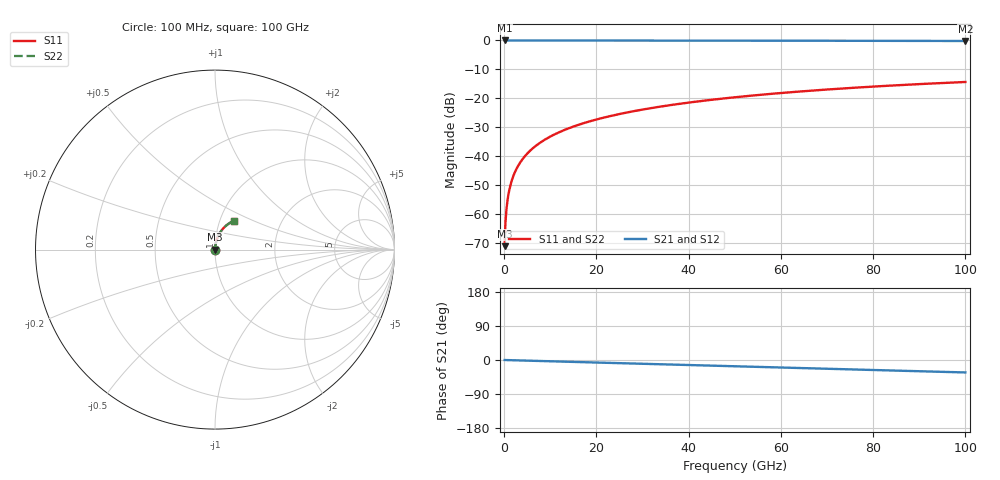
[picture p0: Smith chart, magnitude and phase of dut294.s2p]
! Touchstone file exported from HFSS 2026.1.0
!  File:  C:/ffzhzh/LocalFiles/Ansys_Project_Files/temp_train_TSV_294_1783509060_31944.aedt
!  Generated:  07:12:15 PM Jul  8, 2026
!  Design:  TSV
!  Project:  temp_train_TSV_294_1783509060_31944
! Variables:
!  h_bsmrdl = 2um
!  h_ox = 20um
!  h_rdl = 5um
!  h_sub = 55.29um
!  h_tmrdl = 5um
!  h_tsv = 55.29um
!  h_via = 3um
!  l_bsmrdl = 300um
!  l_sub = 416.2um
!  l_tmrdl = 200um
!  m_sub = 200um
!  pitch = 52.65um
!  r_tsv = 8.1um
!  s_tmrdl = 10um
!  w_bsmrdl = 18um
!  w_sub = 500um
!  w_tmrdl = 12um
!  x_tsv_center1 = 206um
!  x_tsv_center2 = 524um
!  x_tsv_center3 = 736um
!  x_tsv_center4 = 1054um
!  x_tsv_center5 = 1266um
!  x_tsv_center6 = 1584um
# GHz S MA R 50.000000
! Terminal data exported
! Port[1] = TSV1_1_T1
! Port[2] = TSV1_1_T2
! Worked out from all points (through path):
!   1000 points, 100 MHz to 100 GHz, reference 50 ohm
!   highest |S21| = 0.00 dB at 100 MHz (marker M1); lowest = -0.2 dB at 100 GHz (marker M2)
!   group delay of S21, straight-line fit = 913 fs
!   lowest |S11| = -71.0 dB at 100 MHz (marker M3), VSWR 1.00, Z = 50 + j0.0248 ohm
!   |S11| at or under -10 dB: start of sweep to end of sweep
!   |S22| runs from -71.0 to -14.3 dB; largest |S21 - S12| = 6.6e-15
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0.1  0.0002804 62.2  0.9999 -0.0  0.9999 -0.0  0.0002804 62.2
! Gamma 0 0 0 0
! Port Impedance 50 0 50 0
0.3  0.0007471 78.0  0.9998 -0.1  0.9998 -0.1  0.0007471 78.0
0.7  0.001666 82.8  0.9998 -0.2  0.9998 -0.2  0.001666 82.8
0.8  0.001893 83.3  0.9998 -0.3  0.9998 -0.3  0.001893 83.3
1  0.002345 84.0  0.9998 -0.3  0.9998 -0.3  0.002345 84.0
1.3  0.003021 84.6  0.9997 -0.4  0.9997 -0.4  0.003021 84.6
1.7  0.003915 85.0  0.9997 -0.6  0.9997 -0.6  0.003915 85.0
2.3  0.005244 85.3  0.9996 -0.8  0.9996 -0.8  0.005244 85.3
3  0.006778 85.5  0.9996 -1.0  0.9996 -1.0  0.006778 85.5
3.8  0.008518 85.6  0.9995 -1.3  0.9995 -1.3  0.008518 85.6
4.8  0.01069 85.6  0.9994 -1.6  0.9994 -1.6  0.01069 85.6
6  0.01328 85.5  0.9993 -2.0  0.9993 -2.0  0.01328 85.5
8.8  0.01931 85.0  0.9991 -3.0  0.9991 -3.0  0.01931 85.0
12.4  0.02702 84.0  0.9988 -4.2  0.9988 -4.2  0.02702 84.0
16.8  0.03638 82.8  0.9983 -5.6  0.9983 -5.6  0.03638 82.8
24.2  0.05198 80.6  0.9975 -8.1  0.9975 -8.1  0.05198 80.6
33.4  0.07108 77.8  0.9961 -11.1  0.9961 -11.1  0.07108 77.8
41.2  0.08695 75.3  0.9947 -13.7  0.9947 -13.7  0.08695 75.3
50.1  0.1046 72.5  0.9928 -16.6  0.9928 -16.6  0.1046 72.5
66.7  0.1361 67.1  0.9887 -22.1  0.9887 -22.1  0.1361 67.1
83.4  0.1655 61.8  0.984 -27.5  0.984 -27.5  0.1655 61.8
100  0.1918 56.5  0.979 -32.9  0.979 -32.9  0.1918 56.5
